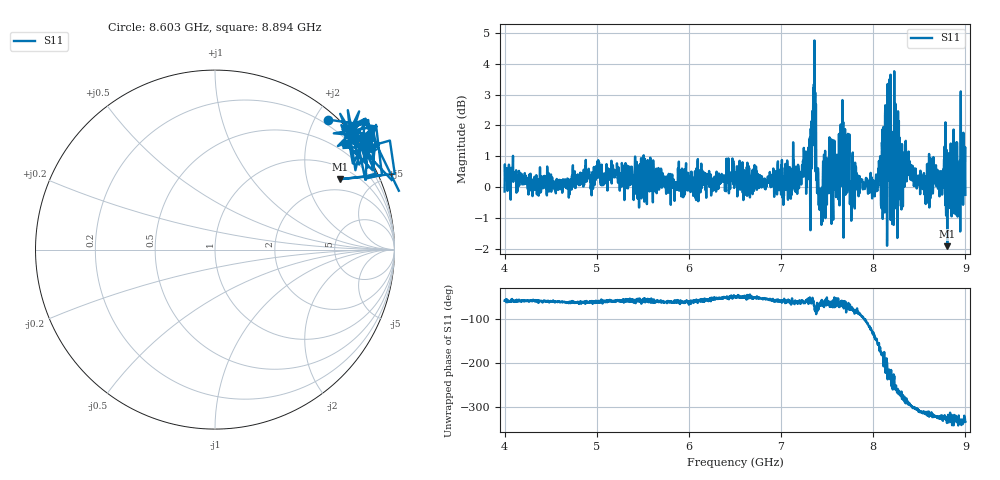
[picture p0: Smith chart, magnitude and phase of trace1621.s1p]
! Created with skrf 1.8.0 (http://scikit-rf.org).
# Hz S RI R 50.0
!freq ReS11 ImS11
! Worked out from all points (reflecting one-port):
!   1601 points, 4 GHz to 9 GHz, reference 50 ohm
!   lowest |S11| = -1.9 dB at 8.803 GHz (marker M1), VSWR 9.07, Z = 73.1 + j160 ohm
!   phase of S11 starts at -58 deg and turns -277 deg over the sweep
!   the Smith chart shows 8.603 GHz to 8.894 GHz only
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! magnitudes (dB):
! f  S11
! 4 GHz  -0.1
! 4.625 GHz  -0.2
! 5.25 GHz  -0.1
! 5.875 GHz  0.0
! 6.5 GHz  0.5
! 7.125 GHz  0.5
! 7.294 GHz  1.1
! 7.356 GHz  3.3
! 7.381 GHz  1.1
! 7.4 GHz  0.6
! 7.428 GHz  -0.2
! 7.512 GHz  0.9
! 7.616 GHz  -0.3
! 7.65 GHz  1.3
! 7.75 GHz  -0.1
! 8.019 GHz  0.1
! 8.119 GHz  0.9
! 8.128 GHz  2.3
! 8.162 GHz  0.2
! 8.194 GHz  -1.1
! 8.209 GHz  1.1
! 8.375 GHz  0.7
! 8.556 GHz  -0.2
! 8.666 GHz  0.7
! 8.803 GHz  -1.9
! 8.919 GHz  -0.5
! 8.972 GHz  0.7
! 9 GHz  -0.3
